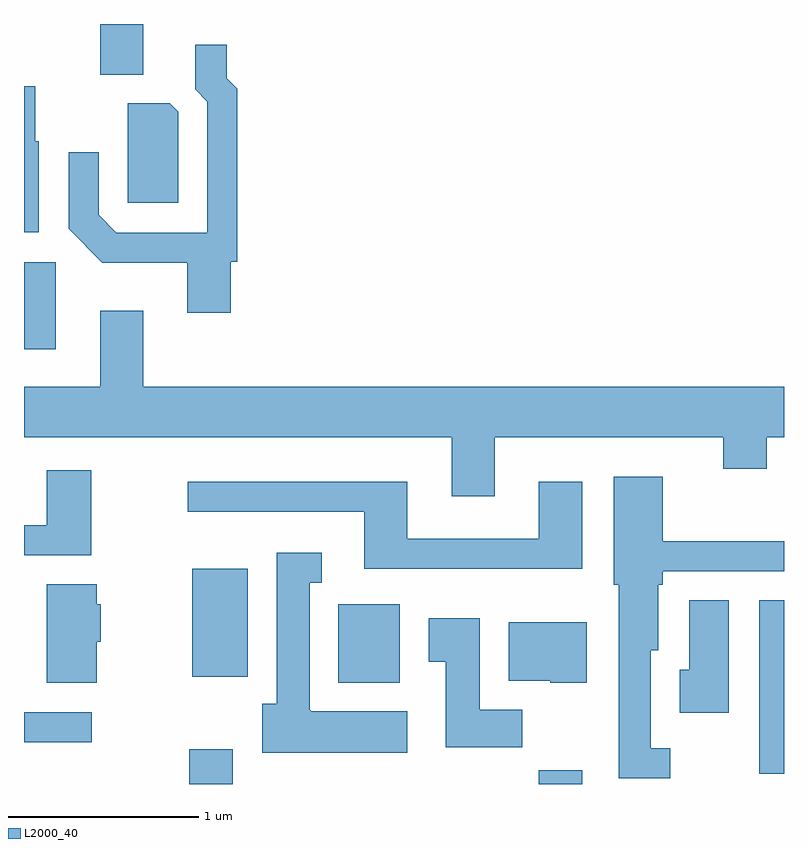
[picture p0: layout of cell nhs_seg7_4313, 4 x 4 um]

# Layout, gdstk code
import gdstk
lib = gdstk.Library(unit=1e-6, precision=1e-09)
def R(c, l, rs):  # rectangles x0, y0, x1, y1
    for r in rs: c.add(gdstk.rectangle(r[:2], r[2:], *l))
def P(c, l, *ps):  # polygons
    for p in ps: c.add(gdstk.Polygon(p, *l))
L2000_40 = (2000, 40)

nhs_seg7_4313 = lib.new_cell('nhs_seg7_4313')
R(nhs_seg7_4313, L2000_40, [(318.481,1730.252,318.709,1730.434), (320.321,1730.252,320.549,1730.324), (321.481,1730.306,321.611,1731.219), (317.611,1730.471,317.968,1730.629), (319.266,1730.786,319.589,1731.199), (318.496,1730.816,318.789,1731.384), (317.611,1732.541,317.779,1732.999), (318.011,1733.986,318.239,1734.252)])
P(nhs_seg7_4313, L2000_40, [(318.699,1733.001),(318.734,1733.001),(318.734,1733.912),(318.679,1733.967),(318.679,1734.143),(318.511,1734.143),(318.511,1733.909),(318.576,1733.844),(318.576,1733.154),(318.097,1733.154),(318.004,1733.247),(318.004,1733.578),(317.846,1733.578),(317.846,1733.174),(318.024,1732.996),(318.471,1732.996),(318.471,1732.731),(318.699,1732.731)],
  [(317.689,1733.634),(317.669,1733.634),(317.669,1733.924),(317.611,1733.924),(317.611,1733.156),(317.689,1733.156)],
  [(318.424,1733.789),(318.379,1733.834),(318.156,1733.834),(318.156,1733.311),(318.424,1733.311)],
  [(318.239,1732.744),(318.011,1732.744),(318.011,1732.344),(317.611,1732.344),(317.611,1732.076),(319.861,1732.076),(319.861,1731.766),(320.089,1731.766),(320.089,1732.076),(321.291,1732.076),(321.291,1731.911),(321.519,1731.911),(321.519,1732.076),(321.611,1732.076),(321.611,1732.344),(318.239,1732.344)],
  [(317.964,1731.904),(317.731,1731.904),(317.731,1731.614),(317.611,1731.614),(317.611,1731.456),(317.964,1731.456)],
  [(321.013,1730.439),(320.909,1730.439),(320.909,1730.956),(320.949,1730.956),(320.949,1731.301),(320.974,1731.301),(320.974,1731.371),(321.611,1731.371),(321.611,1731.529),(320.974,1731.529),(320.974,1731.869),(320.716,1731.869),(320.716,1731.301),(320.741,1731.301),(320.741,1730.281),(321.013,1730.281)],
  [(320.549,1731.844),(320.321,1731.844),(320.321,1731.544),(319.629,1731.544),(319.629,1731.844),(318.473,1731.844),(318.473,1731.686),(319.401,1731.686),(319.401,1731.386),(320.549,1731.386)],
  [(319.629,1730.634),(319.12,1730.634),(319.12,1730.64),(319.114,1730.64),(319.114,1731.311),(319.178,1731.311),(319.178,1731.469),(318.941,1731.469),(318.941,1730.674),(318.866,1730.674),(318.866,1730.416),(319.629,1730.416)],
  [(317.994,1731.001),(318.014,1731.001),(318.014,1731.199),(317.994,1731.199),(317.994,1731.304),(317.731,1731.304),(317.731,1730.786),(317.994,1730.786)],
  [(321.319,1731.219),(321.111,1731.219),(321.111,1730.854),(321.061,1730.854),(321.061,1730.626),(321.319,1730.626)],
  [(320.234,1730.644),(320.009,1730.644),(320.009,1731.124),(319.741,1731.124),(319.741,1730.896),(319.831,1730.896),(319.831,1730.446),(320.234,1730.446)],
  [(320.574,1731.104),(320.161,1731.104),(320.161,1730.796),(320.38,1730.796),(320.38,1730.786),(320.574,1730.786)])

lib.write_gds('nhs_seg7_4313.gds')
